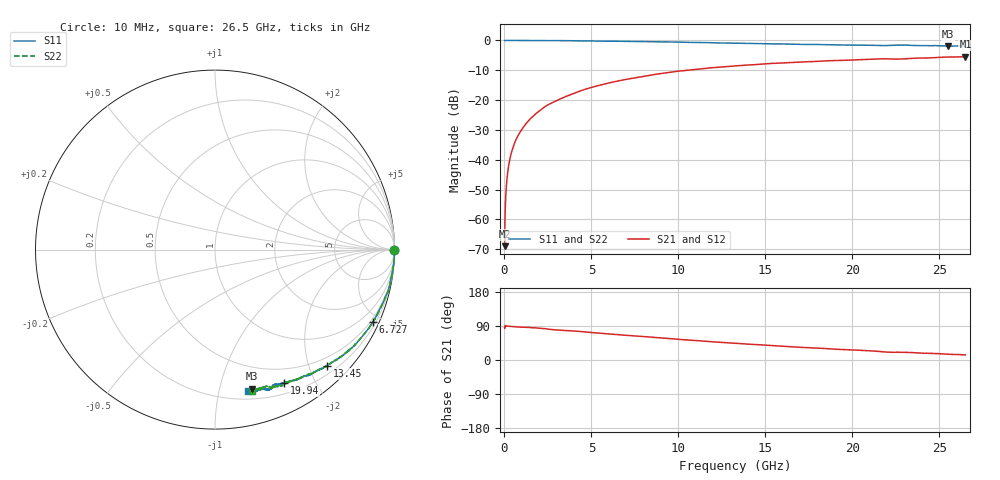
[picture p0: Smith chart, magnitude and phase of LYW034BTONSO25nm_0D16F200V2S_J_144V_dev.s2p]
!Keysight Technologies,N5222B,MY61253708,A.15.00.15
!Date: Wednesday, June 19, 2024 10:05:57
!Correction: S11(C  2-Port  )
!S21(C  2-Port  )
!S12(C  2-Port  )
!S22(C  2-Port  )
!S2P File: Measurements: S11, S21, S12, S22:
# Hz S  RI  R 50
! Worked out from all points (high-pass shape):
!   2651 points, 10 MHz to 26.5 GHz, reference 50 ohm
!   highest |S21| = -5.41 dB at 26.5 GHz (marker M1); lowest = -69.0 dB at 10 MHz (marker M2)
!   |S21| within 3 dB of the highest: 13.57 GHz to end of sweep
!   lowest |S11| = -1.9 dB at 25.5 GHz (marker M3), VSWR 9.09, Z = 14.5 - j62.9 ohm
!   |S11| at or under -10 dB: nowhere
!   |S22| runs from -1.8 to 0.0 dB; largest |S21 - S12| = 0.0061
!   S11 on the Smith chart (normalised r, x): 10 MHz: open; 6.727 GHz: 0.36, -4.57; 13.45 GHz: 0.34, -2.31; 19.94 GHz: 0.32, -1.60; 26.5 GHz: 0.27, -1.23
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1e7  0.9982 -0.0033  2.91e-05 0.000355  0.000116 0.000684  0.9986 -0.00141
7.997358e7  1 -0.00576  6e-06 0.00259  5.22e-05 0.00262  0.9994 -0.00518
1.599434e8  1 -0.0113  3.66e-05 0.00524  4.15e-05 0.00527  0.9997 -0.0105
2.099245e8  0.9998 -0.014  0.000103 0.00686  0.000106 0.00692  0.9995 -0.0134
2.699019e8  0.9999 -0.0183  0.000138 0.00882  0.000181 0.00889  1 -0.0173
3.698642e8  0.9997 -0.0253  0.000287 0.0121  0.000297 0.0122  0.9996 -0.0242
4.998151e8  0.999 -0.0334  0.000531 0.0163  0.00055 0.0164  0.9988 -0.032
6.597547e8  0.9986 -0.0435  0.000887 0.0215  0.00088 0.0216  0.9987 -0.042
8.49683e8  0.9981 -0.0561  0.0015 0.0276  0.00148 0.0277  0.9979 -0.0552
1.469449e9  0.9911 -0.0981  0.00368 0.0481  0.00368 0.0483  0.9936 -0.0934
2.349117e9  0.9823 -0.1519  0.00995 0.0776  0.0101 0.078  0.9837 -0.1509
3.26877e9  0.9708 -0.2099  0.0213 0.1046  0.0215 0.1051  0.9711 -0.2083
4.428332e9  0.9436 -0.2787  0.0375 0.1401  0.0378 0.1408  0.946 -0.2744
6.727464e9  0.8807 -0.4017  0.0871 0.1968  0.0882 0.1972  0.8833 -0.399
8.846664e9  0.8062 -0.5001  0.1424 0.2352  0.1437 0.2355  0.8097 -0.4961
1.3255e10  0.6313 -0.6413  0.2687 0.2607  0.2704 0.2601  0.6385 -0.6374
1.345492e10  0.6234 -0.6487  0.2743 0.2607  0.2761 0.2593  0.6285 -0.6425
1.767333e10  0.4602 -0.7221  0.375 0.2343  0.3778 0.2324  0.4747 -0.7181
1.994248e10  0.3859 -0.7441  0.4194 0.2103  0.4212 0.2079  0.4045 -0.7394
2.209166e10  0.3247 -0.7561  0.4583 0.1733  0.4596 0.1701  0.3232 -0.7618
2.550038e10  0.2053 -0.7751  0.5082 0.1375  0.5091 0.1366  0.2301 -0.7779
2.65e10  0.1857 -0.7888  0.5216 0.126  0.5207 0.122  0.2038 -0.7876
